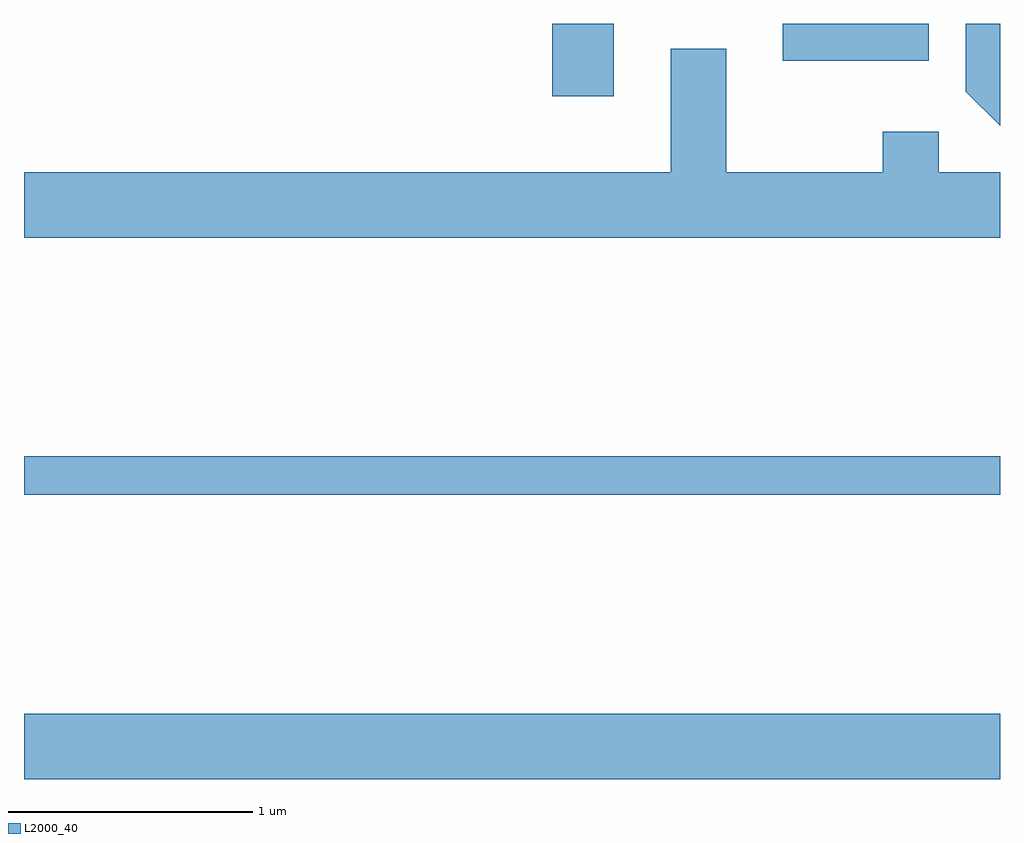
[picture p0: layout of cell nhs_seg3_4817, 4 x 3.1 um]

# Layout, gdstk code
import gdstk
lib = gdstk.Library(unit=1e-6, precision=1e-09)
def R(c, l, rs):  # rectangles x0, y0, x1, y1
    for r in rs: c.add(gdstk.rectangle(r[:2], r[2:], *l))
def P(c, l, *ps):  # polygons
    for p in ps: c.add(gdstk.Polygon(p, *l))
L2000_40 = (2000, 40)

nhs_seg3_4817 = lib.new_cell('nhs_seg3_4817')
R(nhs_seg3_4817, L2000_40, [(325.611,1234.796,329.611,1235.064), (325.611,1235.961,329.611,1236.119), (327.776,1237.596,328.029,1237.892), (328.721,1237.741,329.319,1237.892)])
P(nhs_seg3_4817, L2000_40, [(329.611,1237.892),(329.471,1237.892),(329.471,1237.614),(329.611,1237.474)],
  [(329.611,1237.284),(329.359,1237.284),(329.359,1237.449),(329.131,1237.449),(329.131,1237.284),(328.489,1237.284),(328.489,1237.789),(328.261,1237.789),(328.261,1237.284),(325.611,1237.284),(325.611,1237.016),(329.611,1237.016)])

lib.write_gds('nhs_seg3_4817.gds')
